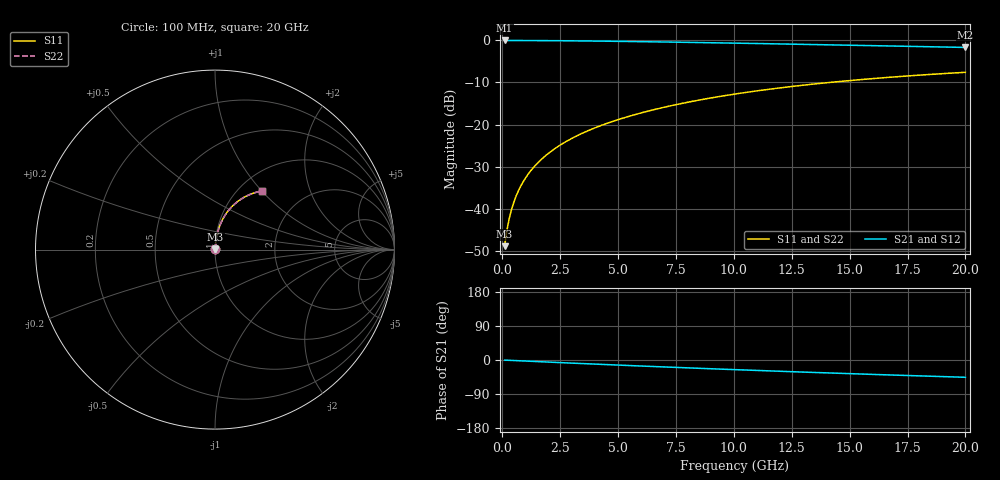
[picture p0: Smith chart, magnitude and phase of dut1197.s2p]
! Touchstone file exported from HFSS 2024.1.0
!  File:  C:/UserFiles/LocalFiles/RDL_TSV_Batchsim/temp_RDL_top_1197_1780049821.aedt
!  Generated:  06:18:54 PM May 29, 2026
!  Design:  RDL_top
!  Project:  temp_RDL_top_1197_1780049821
!  Setup:  Setup1
!  Solution:  Sweep
! Variables:
!  dtsv = 10.80580581um
!  hbump = 3um
!  htsv = 93.33um
!  ldown = 100um
!  lrdl = 643.99um
!  p = 40
!  p1 = 51.48um
!  rhole = 1um
!  t = 450um
!  tdown = 3.915915916um
!  trdl = 4.89um
!  wdown = 15.38538539um
!  wrdl = 18.49um
# GHz S MA R 50.000000
! Terminal data exported
! Port[1] = Box2_T1
! Port[2] = Box2_T2
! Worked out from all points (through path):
!   200 points, 100 MHz to 20 GHz, reference 50 ohm
!   highest |S21| = -0.02 dB at 100 MHz (marker M1); lowest = -1.7 dB at 20 GHz (marker M2)
!   group delay of S21, straight-line fit = 6.31 ps
!   lowest |S11| = -48.9 dB at 100 MHz (marker M3), VSWR 1.01, Z = 50.3 + j0.246 ohm
!   |S11| at or under -10 dB: start of sweep to 14.12 GHz
!   |S22| runs from -48.9 to -7.6 dB; largest |S21 - S12| = 5e-15
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0.1  0.003606 42.7  0.9973 -0.3  0.9973 -0.3  0.003606 42.7
! Gamma 0 0 0 0
! Port Impedance 50 0 50 0
0.2  0.005562 59.9  0.9972 -0.6  0.9972 -0.6  0.005562 59.9
0.3  0.007688 67.5  0.997 -0.9  0.997 -0.9  0.007688 67.5
0.4  0.009853 71.9  0.9969 -1.1  0.9969 -1.1  0.009853 71.9
0.5  0.01204 74.7  0.9967 -1.4  0.9967 -1.4  0.01204 74.7
0.6  0.01424 76.6  0.9965 -1.7  0.9965 -1.7  0.01424 76.6
0.8  0.01868 79.1  0.9962 -2.2  0.9962 -2.2  0.01869 79.1
1.1  0.02541 81.1  0.9955 -3.1  0.9955 -3.1  0.02541 81.1
1.5  0.03444 82.3  0.9944 -4.2  0.9944 -4.2  0.03444 82.3
1.8  0.04124 82.6  0.9934 -5.0  0.9934 -5.0  0.04124 82.6
2.1  0.04805 82.8  0.9921 -5.8  0.9921 -5.8  0.04805 82.8
2.7  0.06171 82.6  0.9892 -7.4  0.9892 -7.4  0.06171 82.6
3.5  0.08 82.0  0.9846 -9.6  0.9846 -9.6  0.07999 81.9
4.2  0.09607 81.2  0.9798 -11.4  0.9798 -11.4  0.09606 81.1
5  0.1145 80.1  0.9737 -13.4  0.9737 -13.4  0.1145 80.1
6.8  0.1563 77.2  0.9584 -17.9  0.9584 -17.9  0.1563 77.2
8.4  0.1933 74.2  0.9434 -21.7  0.9434 -21.7  0.1932 74.2
10.1  0.2317 70.9  0.9265 -25.6  0.9265 -25.6  0.2317 70.9
11.7  0.2666 67.7  0.9102 -29.1  0.9102 -29.1  0.2665 67.6
13.4  0.3019 64.2  0.8925 -32.8  0.8925 -32.8  0.3018 64.2
16.7  0.3642 57.6  0.858 -39.4  0.858 -39.4  0.3641 57.6
20  0.4177 51.4  0.8243 -45.7  0.8243 -45.7  0.4176 51.4
